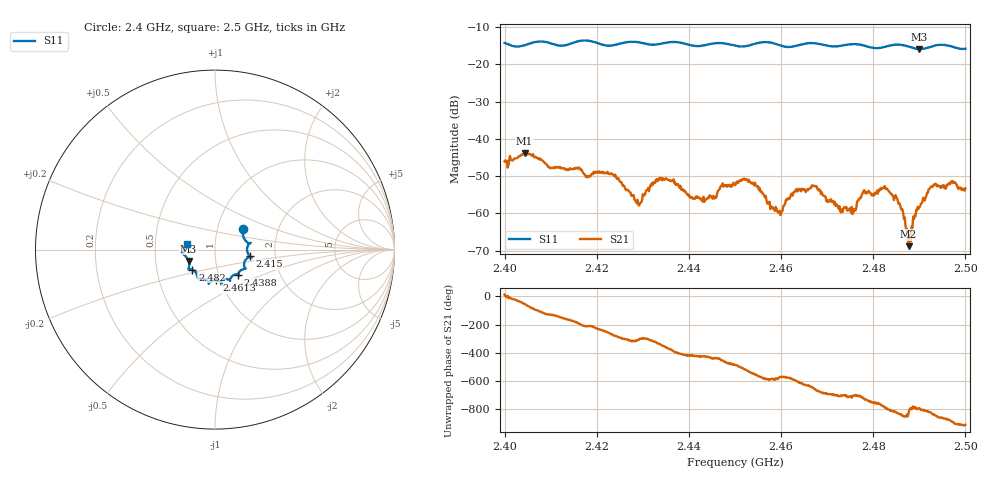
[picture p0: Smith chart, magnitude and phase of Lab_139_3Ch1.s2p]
# Hz S RI R 50
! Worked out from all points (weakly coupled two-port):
!   601 points, 2.4 GHz to 2.5 GHz, reference 50 ohm
!   highest |S21| = -43.87 dB at 2.4043 GHz (marker M1); lowest = -68.8 dB at 2.4877 GHz (marker M2)
!   lowest |S11| = -15.9 dB at 2.49 GHz (marker M3), VSWR 1.38, Z = 36.9 - j4.85 ohm
!   |S11| at or under -10 dB: start of sweep to end of sweep
!   S12 and S22 are empty: the file has one direction only
!   S11 on the Smith chart (normalised r, x): 2.4 GHz: 1.33, +0.31; 2.415 GHz: 1.47, -0.11; 2.4388 GHz: 1.24, -0.36; 2.4613 GHz: 0.96, -0.34; 2.482 GHz: 0.76, -0.17; 2.5 GHz: 0.72, +0.05
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2.4e9  0.1579 0.1127  0.00486 0.00112  0 0  0 0
2.404333e9  0.1753 0.0443  0.00377 -0.00517  0 0  0 0
2.415e9  0.1923 -0.0358  -0.00401 -0.000254  0 0  0 0
2.416667e9  0.2037 -0.0438  -0.00355 0.00154  0 0  0 0
2.423667e9  0.1618 -0.081  0.000468 0.00321  0 0  0 0
2.429e9  0.1679 -0.1062  0.000797 0.00103  0 0  0 0
2.433333e9  0.1324 -0.1314  0.00262 0.00125  0 0  0 0
2.438833e9  0.1297 -0.1407  0.00118 -0.00159  0 0  0 0
2.4435e9  0.0874 -0.1586  0.000629 -0.00133  0 0  0 0
2.45e9  0.0691 -0.1648  -0.00147 -0.00189  0 0  0 0
2.454167e9  0.0341 -0.1845  -0.0023 0.00052  0 0  0 0
2.459667e9  0.0282 -0.1787  -0.0009 0.000601  0 0  0 0
2.461333e9  0.00782 -0.1711  -0.00119 0.000937  0 0  0 0
2.466667e9  -0.0348 -0.1901  0.000534 0.0023  0 0  0 0
2.475667e9  -0.0947 -0.161  0.000993 0.000278  0 0  0 0
2.482e9  -0.126 -0.1117  0.0012 -0.00179  0 0  0 0
2.483333e9  -0.1396 -0.1088  0.000191 -0.002  0 0  0 0
2.486e9  -0.1486 -0.1071  -0.000545 -0.00103  0 0  0 0
2.487667e9  -0.1444 -0.0961  -0.00011 -0.000345  0 0  0 0
2.49e9  -0.147 -0.064  0.000315 -0.00116  0 0  0 0
2.493167e9  -0.1757 -0.0257  -0.00116 -0.00215  0 0  0 0
2.5e9  -0.1587 0.0326  -0.0021 0.000468  0 0  0 0
